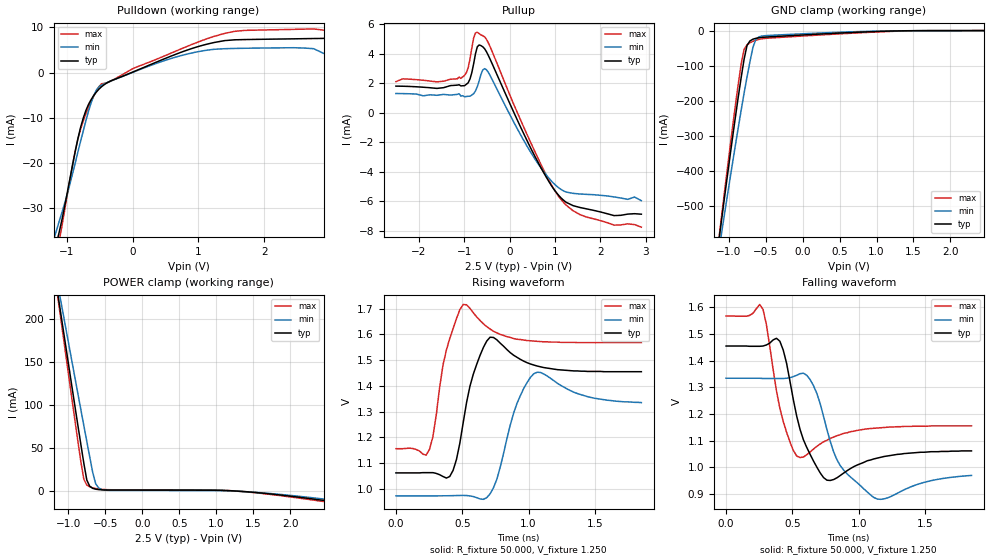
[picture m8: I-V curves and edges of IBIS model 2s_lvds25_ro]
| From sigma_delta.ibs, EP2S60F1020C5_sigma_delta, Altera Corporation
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[Model] 2s_lvds25_ro
Model_type 3-state
C_comp  3.80pF   NA   NA
[Temperature Range]   25.0000  85.0000  0.0000
[Voltage Range]   2.5000   2.3750   2.6250
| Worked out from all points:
|   slope of the pulldown table from 0 to 0.375 V, typ, clamps not added: 163 ohm
|   slope of the pullup table from 0 to 0.375 V, typ, clamps not added: 151 ohm
|   POWER clamp passes 1 mA (typ) near -0.15 V on its own axis
|   rising waveform, R_fixture 50.000, V_fixture 1.250: 20-80 % time 82ps typ, 105ps min, 67.5ps max; typ from 1.06 V to 1.46 V
|   falling waveform, R_fixture 50.000, V_fixture 1.250: 20-80 % time 97.6ps typ, 129ps min, 79.4ps max; typ from 1.46 V to 1.06 V
[GND_Clamp]
| voltage   I(typ)   I(min)   I(max)
-2.5V     -2.938A    -2.598A    -3.142A
-1.15V    -631.2mA   -655.4mA   -628.8mA
-1.11V    -565.5mA   -599.8mA   -557.3mA
-1.07V    -500.6mA   -544.5mA   -487mA
-910mV    -249.9mA   -329.8mA   -216.2mA
-830mV    -133.7mA   -227.1mA   -94.92mA
-790mV    -80.81mA   -177.8mA   -52.77mA
-750mV    -41.16mA   -130.8mA   -39.6mA
-670mV    -23.51mA   -46.33mA   -29.71mA
-590mV    -19.46mA   -17.02mA   -24.13mA
-470mV    -17.19mA   -13mA      -20.7mA
2.45V     980.1uA    590.9uA    1.289mA
[Pulldown]
|  Voltage   I(typ)   I(min)   I(max)
-2.5V     -94mA      -75mA      -108mA
-1.3V     -47.04mA   -41.66mA   -50.74mA
-1.15V    -37.54mA   -34.7mA    -39.7mA
-1.11V    -35.04mA   -32.73mA   -36.95mA
-1.07V    -32.43mA   -30.86mA   -33.78mA
-870mV    -17.42mA   -19.99mA   -17.29mA
-750mV    -10.15mA   -13.03mA   -10.75mA
-590mV    -5.089mA   -5.11mA    -5.217mA
-470mV    -3.127mA   -2.762mA   -2.49mA
650mV     4.004mA    3.391mA    4.692mA
1.4V      7.066mA    5.274mA    8.665mA
2.9V      7.55mA     4.254mA    9.381mA
[POWER_Clamp]
|voltage   I(typ)   I(min)   I(max)
-2.5V     983.7mA    867.9mA    1.054A
-1.15V    233.4mA    243.3mA    230.3mA
-1.11V    210.8mA    224.6mA    205.4mA
-1.07V    188.3mA    206mA      180.6mA
-870mV    75.88mA    112.8mA    57.47mA
-790mV    32.05mA    75.85mA    13.52mA
-750mV    12.69mA    57.52mA    6.859mA
-670mV    3.018mA    21.48mA    3.607mA
-630mV    2.045mA    8.388mA    2.841mA
-510mV    1.141mA    975.8uA    1.588mA
1.17V     343.7uA    93.3uA     430.7uA
2.45V     -10.97mA   -9.376mA   -12.3mA
[Pullup]
|  Voltage   I(typ)   I(min)   I(max)
-2.5V     1.8mA      1.3mA      2.103mA
-1.07V    1.814mA    1.123mA    2.324mA
-950mV    1.927mA    1.1mA      2.712mA
-870mV    2.288mA    1.12mA     3.636mA
-790mV    3.311mA    1.291mA    5.048mA
-710mV    4.455mA    1.758mA    5.439mA
-590mV    4.464mA    2.891mA    5.212mA
-510mV    4.136mA    2.912mA    4.977mA
490mV     -2.54mA    -2.793mA   -2.181mA
1.13V     -5.753mA   -5.181mA   -5.859mA
1.7V      -6.506mA   -5.522mA   -7.063mA
2.9V      -6.862mA   -5.95mA    -7.739mA
[Rising Waveform]
R_fixture = 50.000
V_fixture = 1.250
V_fixture_min = 1.125
V_fixture_max = 1.375
|  time   V(typ)   V(min)   V(max)
0s        1.062V     972.9mV    1.156V
253.5ps   1.063V     972.9mV    1.154V
354.9ps   1.048V     973.1mV    1.481V
405.6ps   1.048V     973.4mV    1.584V
507ps     1.257V     974.6mV    1.716V
583ps     1.445V     970.1mV    1.684V
709.8ps   1.589V     980.5mV    1.621V
912.6ps   1.511V     1.332V     1.581V
1.039ns   1.481V     1.447V     1.574V
1.85ns    1.455V     1.335V     1.568V
[Falling Waveform]
R_fixture = 50.000
V_fixture = 1.250
V_fixture_min = 1.125
V_fixture_max = 1.375
|  time   V(typ)   V(min)   V(max)
0s        1.455V     1.334V     1.568V
278.9ps   1.455V     1.333V     1.593V
405.6ps   1.473V     1.333V     1.221V
507ps     1.254V     1.34V      1.063V
557.7ps   1.142V     1.351V     1.036V
659.1ps   1.023V     1.306V     1.068V
760.5ps   950.9mV    1.141V     1.101V
861.9ps   968.9mV    1.005V     1.122V
1.115ns   1.031V     885.8mV    1.146V
1.85ns    1.061V     968.8mV    1.155V
[Ramp]
dV/dt_r 2.967e-001/1.268e-010 2.684e-001/1.521e-010 3.189e-001/1.268e-010
dV/dt_f 3.670e-001/1.775e-010 2.851e-001/2.028e-010 3.569e-001/1.268e-010
